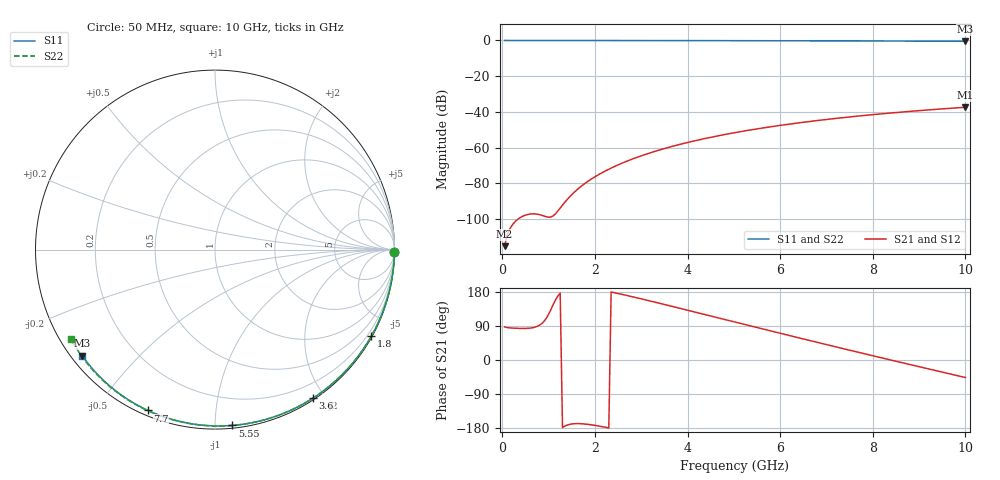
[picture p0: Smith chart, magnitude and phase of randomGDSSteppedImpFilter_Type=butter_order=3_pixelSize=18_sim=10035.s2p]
! freq	dB(S11)	phase(S11)	dB(S12)	phase(S12)
!  dB(S21)	phase(S21)	dB(S22)	phase(S22)
!S-par simulation data
#  GHz  S  DB  R 50
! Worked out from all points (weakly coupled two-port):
!   200 points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, 50 MHz to 10 GHz, reference 50 ohm
!   highest |S21| = -37.43 dB at 10 GHz (marker M1); lowest = -115.2 dB at 50 MHz (marker M2)
!   lowest |S11| = -0.5 dB at 10 GHz (marker M3), VSWR 36.59, Z = 1.53 - j17.5 ohm
!   |S11| at or under -10 dB: nowhere
!   |S22| runs from -0.5 to 0.0 dB; largest |S21 - S12| = 0
!   S11 on the Smith chart (normalised r, x): 50 MHz: open; 1.8 GHz: 0.03, -3.87; 3.6 GHz: 0.02, -1.86; 5.55 GHz: 0.02, -1.10; 7.7 GHz: 0.02, -0.67; 10 GHz: 0.03, -0.35
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0.05  -0.00 -0.8  -115.23 87.4  -115.23 87.4  -0.00 -0.9
0.45  -0.01 -7.4  -98.36 83.2  -98.36 83.2  -0.01 -7.7
0.9  -0.02 -14.6  -98.34 101.8  -98.34 101.8  -0.02 -15.4
1.3  -0.03 -21.1  -92.23 -178.2  -92.23 -178.2  -0.03 -22.1
1.75  -0.04 -28.2  -80.75 -168.6  -80.75 -168.6  -0.04 -29.7
1.8  -0.04 -29.0  -79.79 -169.1  -79.79 -169.1  -0.04 -30.5
1.95  -0.04 -31.4  -77.17 -171.5  -77.17 -171.5  -0.04 -33.0
2.1  -0.04 -33.7  -74.86 -174.5  -74.86 -174.5  -0.05 -35.4
2.3  -0.05 -36.8  -72.12 -179.3  -72.12 -179.3  -0.05 -38.7
2.5  -0.05 -39.9  -69.70 175.5  -69.70 175.5  -0.05 -42.0
2.9  -0.06 -46.1  -65.55 164.3  -65.55 164.3  -0.06 -48.4
3.4  -0.07 -53.6  -61.30 149.6  -61.30 149.6  -0.08 -56.3
3.6  -0.08 -56.6  -59.82 143.6  -59.82 143.6  -0.08 -59.4
4.3  -0.09 -66.9  -55.36 122.3  -55.36 122.3  -0.10 -70.1
5.05  -0.12 -77.5  -51.51 99.4  -51.51 99.4  -0.13 -81.3
5.55  -0.14 -84.4  -49.33 84.2  -49.33 84.2  -0.15 -88.5
6.1  -0.16 -91.9  -47.21 67.5  -47.21 67.5  -0.17 -96.3
6.7  -0.19 -99.8  -45.18 49.6  -45.18 49.6  -0.20 -104.6
7.7  -0.26 -112.7  -42.31 20.0  -42.31 20.0  -0.27 -118.0
8.35  -0.31 -120.9  -40.72 1.1  -40.72 1.1  -0.33 -126.6
9.2  -0.39 -131.5  -38.90 -23.4  -38.90 -23.4  -0.41 -137.8
10  -0.47 -141.4  -37.43 -46.2  -37.43 -46.2  -0.50 -148.3
